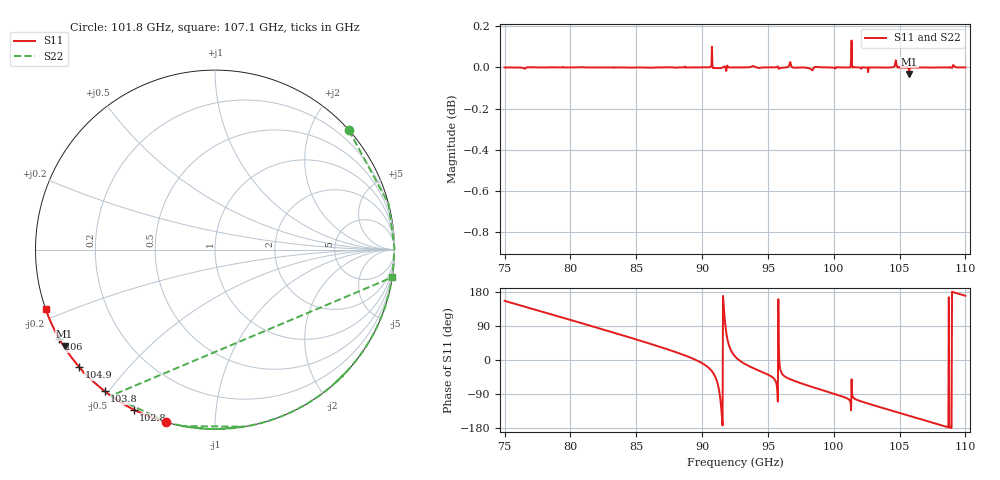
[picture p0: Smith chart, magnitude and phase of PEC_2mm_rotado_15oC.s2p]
! TOUCHSTONE file generated by CST MICROWAVE STUDIO
! Date and time: Wed Feb 14 15:11:44 2024
! Project name: metal_rotado.cst
! Parameters = {angY=1.5}
! Header version: 2018
! Port assignment regex: !\s*Touchstone port\s*([0-9]+)\s*=\s*(CST MWS port|CST DS port)\s*([0-9]+|Zmin|Zmax)\s*\(\"(.*)\"\)(\s*mode\s*([0-9]+))?.*
! Touchstone port assignment:
! Touchstone port 1 = CST MWS port 1 ("")
! Touchstone port 2 = CST MWS port 2 ("")
# GHz S MA R 376.7
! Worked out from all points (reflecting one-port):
!   1001 points, 75 GHz to 110 GHz, reference 376.7 ohm
!   lowest |S11| = 0.0 dB at 105.7 GHz (marker M1), VSWR 553.32, Z = 0.74 - j111 ohm
!   phase of S11 starts at 156 deg and turns -1067 deg over the sweep
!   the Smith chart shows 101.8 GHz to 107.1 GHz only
!   S11 on the Smith chart (normalised r, x): 101.8 GHz: -0.00, -0.76; 102.8 GHz: 0.00, -0.61; 103.8 GHz: 0.00, -0.49; 104.9 GHz: -0.00, -0.37; 106 GHz: 0.00, -0.27; 107.1 GHz: 0.00, -0.17
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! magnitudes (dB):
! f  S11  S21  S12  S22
! 75 GHz  0.0  -  -  0.0
! 80.84 GHz  0.0  -  -  0.0
! 86.69 GHz  0.0  -  -  0.0
! 90.4 GHz  0.0  -  -  0.0
! 90.61 GHz  0.0  -  -  0.0
! 91 GHz  0.0  -  -  0.0
! 92.5 GHz  0.0  -  -  0.0
! 96.17 GHz  0.0  -  -  0.0
! 96.63 GHz  0.0  -  -  0.0
! 98.34 GHz  0.0  -  -  0.0
! 101.1 GHz  0.0  -  -  0.0
! 101.2 GHz  0.0  -  -  0.0
! 101.4 GHz  0.0  -  -  0.0
! 101.8 GHz  0.0  -  -  0.0
! 102.8 GHz  0.0  -  -  0.0
! 103.8 GHz  0.0  -  -  0.0
! 104.2 GHz  0.0  -  -  0.0
! 104.9 GHz  0.0  -  -  0.0
! 105.7 GHz  0.0  -  -  0.0
! 106 GHz  0.0  -  -  0.0
! 107.1 GHz  0.0  -  -  0.0
! 110 GHz  0.0  -  -  0.0
